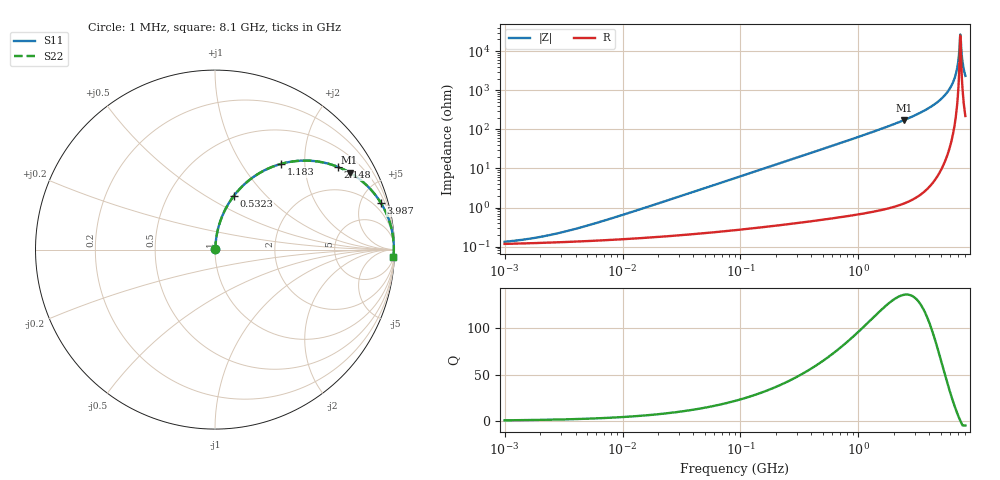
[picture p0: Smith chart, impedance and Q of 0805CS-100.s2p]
# MHz S MA R 50
!Freq  MagS11  AngS11  MagS21  AngS21  MagS12  AngS12  MagS22  AngS22
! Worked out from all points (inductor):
!   801 points, 1 MHz to 8.1 GHz, reference 50 ohm
!   read as one part in series: L = 10 nH near 7.002 MHz
!   highest Q = 136 at 2.458 GHz (marker M1), where L = 11.3 nH
!   self-resonance near 7.32 GHz
!   S11 on the Smith chart (normalised r, x): 1 MHz: 1.00, +0.00; 532.3 MHz: 1.01, +0.67; 1.183 GHz: 1.01, +1.53; 2.148 GHz: 1.02, +2.95; 3.987 GHz: 1.07, +7.11; 8.1 GHz: 5, -46
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1  0.001328 28.2  0.9988 -0.0  0.9988 -0.0  0.001328 28.2
2.077612  0.001804 46.2  0.9988 -0.1  0.9988 -0.1  0.001804 46.2
4.51514  0.003144 64.1  0.9986 -0.2  0.9986 -0.2  0.003144 64.1
20.15844  0.01277 81.3  0.9982 -0.7  0.9982 -0.7  0.01277 81.3
90  0.05638 84.1  0.9958 -3.2  0.9958 -3.2  0.05638 84.1
406.3626  0.2471 74.7  0.9647 -14.3  0.9647 -14.3  0.2471 74.7
532.3145  0.3173 70.6  0.9436 -18.5  0.9436 -18.5  0.3173 70.6
798.0868  0.4504 62.6  0.8875 -26.8  0.8875 -26.8  0.4504 62.6
1183.168  0.604 52.3  0.7913 -37.2  0.7913 -37.2  0.604 52.3
1814.259  0.7689 39.3  0.6333 -50.3  0.6333 -50.3  0.7689 39.3
2147.749  0.825 34.0  0.559 -55.6  0.559 -55.6  0.825 34.0
2458.163  0.8642 29.8  0.4968 -59.8  0.4968 -59.8  0.8642 29.8
3987.419  0.9603 15.7  0.2702 -73.8  0.2702 -73.8  0.9603 15.7
5107.109  0.9848 9.1  0.1584 -80.0  0.1584 -80.0  0.9848 9.1
6045.876  0.9936 4.8  0.08423 -83.2  0.08423 -83.2  0.9936 4.8
6615.217  0.9959 2.6  0.04518 -83.5  0.04518 -83.5  0.9959 2.6
6842.281  0.9963 1.7  0.03063 -82.2  0.03063 -82.2  0.9963 1.7
7077.139  0.9965 0.9  0.01621 -77.2  0.01621 -77.2  0.9965 0.9
7320.059  0.9965 0.1  0.003716 -20.1  0.003716 -20.1  0.9965 0.1
7571.316  0.9963 -0.8  0.01378 73.9  0.01378 73.9  0.9963 -0.8
7831.198  0.9958 -1.6  0.02813 80.6  0.02813 80.6  0.9958 -1.6
8100  0.9951 -2.4  0.04264 82.2  0.04264 82.2  0.9951 -2.4
